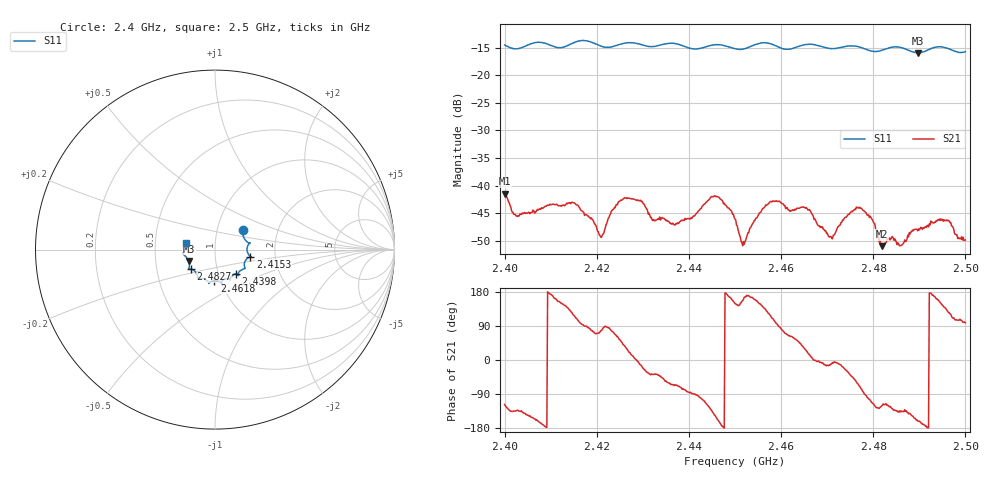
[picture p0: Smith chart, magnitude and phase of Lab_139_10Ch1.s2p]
# Hz S RI R 50
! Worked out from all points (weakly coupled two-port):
!   601 points, 2.4 GHz to 2.5 GHz, reference 50 ohm
!   highest |S21| = -41.45 dB at 2.4 GHz (marker M1); lowest = -51.0 dB at 2.4818 GHz (marker M2)
!   lowest |S11| = -15.9 dB at 2.4897 GHz (marker M3), VSWR 1.38, Z = 36.9 - j4.81 ohm
!   |S11| at or under -10 dB: start of sweep to end of sweep
!   S12 and S22 are empty: the file has one direction only
!   S11 on the Smith chart (normalised r, x): 2.4 GHz: 1.33, +0.29; 2.4153 GHz: 1.48, -0.12; 2.4398 GHz: 1.21, -0.34; 2.4618 GHz: 0.94, -0.33; 2.4827 GHz: 0.75, -0.17; 2.5 GHz: 0.72, +0.06
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2.4e9  0.1555 0.1068  -0.00388 -0.00752  0 0  0 0
2.402667e9  0.1618 0.0639  -0.00365 -0.00386  0 0  0 0
2.415333e9  0.1968 -0.0391  -0.00275 0.00626  0 0  0 0
2.416667e9  0.2025 -0.0432  -0.000496 0.00593  0 0  0 0
2.421e9  0.1756 -0.0533  0.000732 0.0033  0 0  0 0
2.426167e9  0.1676 -0.1025  0.00632 0.00441  0 0  0 0
2.433333e9  0.1296 -0.134  0.00382 -0.00326  0 0  0 0
2.439833e9  0.1153 -0.1358  0.00046 -0.00499  0 0  0 0
2.4455e9  0.0839 -0.1698  -0.0066 -0.00465  0 0  0 0
2.45e9  0.0654 -0.1619  -0.00425 0.00257  0 0  0 0
2.451833e9  0.0462 -0.1671  -0.00291 0.00109  0 0  0 0
2.457167e9  0.0393 -0.1925  -0.0038 0.00563  0 0  0 0
2.461833e9  -0.00337 -0.1729  0.00256 0.00531  0 0  0 0
2.466667e9  -0.0347 -0.1881  0.00553 0.000585  0 0  0 0
2.470833e9  -0.0566 -0.1655  0.00339 -0.000612  0 0  0 0
2.477167e9  -0.0969 -0.1518  0.00199 -0.00591  0 0  0 0
2.481833e9  -0.127 -0.1108  -0.00147 -0.00241  0 0  0 0
2.482667e9  -0.1349 -0.1087  -0.00131 -0.00272  0 0  0 0
2.483333e9  -0.1401 -0.1083  -0.00167 -0.00279  0 0  0 0
2.489667e9  -0.1469 -0.0635  -0.00367 -0.00126  0 0  0 0
2.495833e9  -0.1769 -0.0163  -0.00341 0.00349  0 0  0 0
2.5e9  -0.1593 0.0386  -0.000458 0.00317  0 0  0 0
